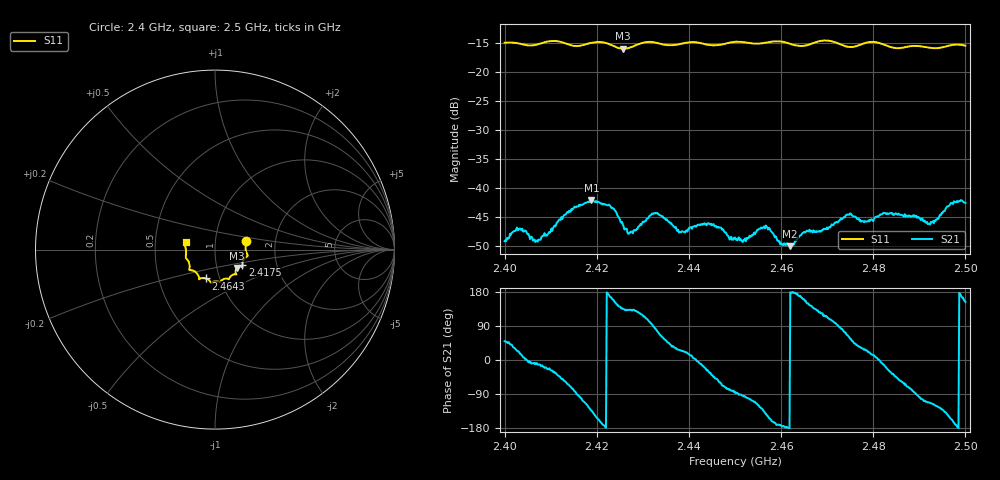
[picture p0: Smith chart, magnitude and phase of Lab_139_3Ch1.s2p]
# Hz S RI R 50
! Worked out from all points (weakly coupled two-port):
!   601 points, 2.4 GHz to 2.5 GHz, reference 50 ohm
!   highest |S21| = -42.05 dB at 2.4188 GHz (marker M1); lowest = -50.0 dB at 2.462 GHz (marker M2)
!   lowest |S11| = -15.9 dB at 2.4257 GHz (marker M3), VSWR 1.38, Z = 62.5 - j13.1 ohm
!   |S11| at or under -10 dB: start of sweep to end of sweep
!   S12 and S22 are empty: the file has one direction only
!   S11 on the Smith chart (normalised r, x): 2.4 GHz: 1.41, +0.14; 2.4175 GHz: 1.34, -0.23; 2.4643 GHz: 0.86, -0.29; 2.5 GHz: 0.72, +0.06
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2.4e9  0.173 0.0487  0.00228 0.00266  0 0  0 0
2.403e9  0.1742 0.0341  0.00405 0.00162  0 0  0 0
2.407333e9  0.1744 -0.0138  0.00353 -0.000747  0 0  0 0
2.416667e9  0.1533 -0.0741  -0.00138 -0.00708  0 0  0 0
2.4175e9  0.1522 -0.0837  -0.003 -0.00686  0 0  0 0
2.418833e9  0.1528 -0.0943  -0.00547 -0.0057  0 0  0 0
2.423167e9  0.144 -0.0944  -0.00653 0.00175  0 0  0 0
2.425667e9  0.1226 -0.1019  -0.00347 0.00339  0 0  0 0
2.427333e9  0.1151 -0.1167  -0.00283 0.00313  0 0  0 0
2.433333e9  0.1134 -0.1373  0.00172 0.00571  0 0  0 0
2.437833e9  0.0833 -0.1533  0.00371 0.00186  0 0  0 0
2.4445e9  0.0598 -0.1612  0.0041 -0.00277  0 0  0 0
2.45e9  0.029 -0.1808  0.000213 -0.00375  0 0  0 0
2.4565e9  -0.01 -0.1792  -0.00337 -0.00299  0 0  0 0
2.462e9  -0.0301 -0.1733  -0.00316 5.85e-05  0 0  0 0
2.464333e9  -0.0499 -0.161  -0.0038 0.00101  0 0  0 0
2.466667e9  -0.0759 -0.1594  -0.00337 0.00263  0 0  0 0
2.474667e9  -0.1029 -0.1298  0.00279 0.00522  0 0  0 0
2.478333e9  -0.1376 -0.1152  0.00462 0.00231  0 0  0 0
2.483333e9  -0.1411 -0.0902  0.00535 -0.00273  0 0  0 0
2.492333e9  -0.1614 -0.0219  -0.00189 -0.00448  0 0  0 0
2.5e9  -0.1641 0.0429  -0.00666 0.00336  0 0  0 0
